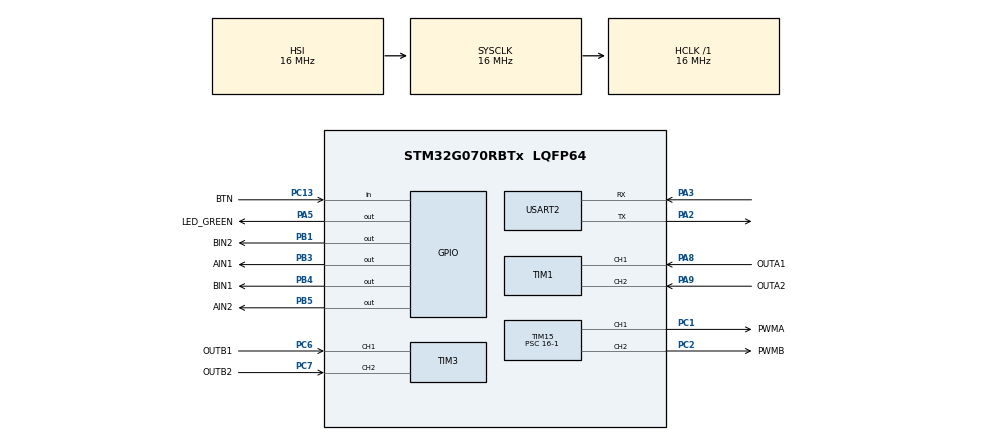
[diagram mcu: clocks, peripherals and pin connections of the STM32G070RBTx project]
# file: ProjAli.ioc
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Dma.Request0=USART2_RX
Dma.Request1=USART2_TX
Dma.USART2_RX.0.Direction=DMA_PERIPH_TO_MEMORY
Dma.USART2_RX.0.EventEnable=DISABLE
Dma.USART2_RX.0.Instance=DMA1_Channel1
Dma.USART2_RX.0.MemDataAlignment=DMA_MDATAALIGN_BYTE
Dma.USART2_RX.0.MemInc=DMA_MINC_ENABLE
Dma.USART2_RX.0.Mode=DMA_NORMAL
Dma.USART2_RX.0.PeriphDataAlignment=DMA_PDATAALIGN_BYTE
Dma.USART2_RX.0.PeriphInc=DMA_PINC_DISABLE
Dma.USART2_RX.0.Polarity=HAL_DMAMUX_REQ_GEN_RISING
Dma.USART2_RX.0.Priority=DMA_PRIORITY_VERY_HIGH
Dma.USART2_RX.0.RequestNumber=1
Dma.USART2_RX.0.SignalID=NONE
Dma.USART2_RX.0.SyncEnable=DISABLE
Dma.USART2_RX.0.SyncPolarity=HAL_DMAMUX_SYNC_NO_EVENT
Dma.USART2_RX.0.SyncRequestNumber=1
Dma.USART2_RX.0.SyncSignalID=NONE
Dma.USART2_TX.1.Direction=DMA_MEMORY_TO_PERIPH
Dma.USART2_TX.1.EventEnable=DISABLE
Dma.USART2_TX.1.Instance=DMA1_Channel2
Dma.USART2_TX.1.MemDataAlignment=DMA_MDATAALIGN_BYTE
Dma.USART2_TX.1.MemInc=DMA_MINC_ENABLE
Dma.USART2_TX.1.Mode=DMA_NORMAL
Dma.USART2_TX.1.PeriphDataAlignment=DMA_PDATAALIGN_BYTE
Dma.USART2_TX.1.PeriphInc=DMA_PINC_DISABLE
Dma.USART2_TX.1.Polarity=HAL_DMAMUX_REQ_GEN_RISING
Dma.USART2_TX.1.Priority=DMA_PRIORITY_VERY_HIGH
Dma.USART2_TX.1.RequestNumber=1
Dma.USART2_TX.1.SignalID=NONE
Dma.USART2_TX.1.SyncEnable=DISABLE
Dma.USART2_TX.1.SyncPolarity=HAL_DMAMUX_SYNC_NO_EVENT
Dma.USART2_TX.1.SyncRequestNumber=1
Dma.USART2_TX.1.SyncSignalID=NONE
Mcu.Family=STM32G0
Mcu.Name=STM32G070RBTx
Mcu.Package=LQFP64
NVIC.DMA1_Channel1_IRQn=true\:0\:0\:false\:true\:true\:1\:false\:true\:true
NVIC.DMA1_Channel2_3_IRQn=true\:0\:0\:false\:true\:true\:2\:false\:true\:true
NVIC.TIM6_IRQn=true\:3\:0\:false\:false\:true\:false\:true\:true
NVIC.TimeBase=TIM6_IRQn
NVIC.TimeBaseIP=TIM6
NVIC.USART2_IRQn=true\:0\:0\:false\:true\:true\:3\:true\:true\:true
PA13.Mode=Serial_Wire
PA13.Signal=SYS_SWDIO
PA14-BOOT0.Mode=Serial_Wire
PA14-BOOT0.Signal=SYS_SWCLK
PA2.Mode=Asynchronous
PA2.Signal=USART2_TX
PA3.Mode=Asynchronous
PA3.Signal=USART2_RX
PA5.GPIO_Label=LED_GREEN
PA5.GPIO_Speed=GPIO_SPEED_FREQ_HIGH
PA5.Signal=GPIO_Output
PA8.GPIO_Label=OUTA1
PA8.GPIO_PuPd=GPIO_PULLDOWN
PA8.GPIO_Speed=GPIO_SPEED_FREQ_VERY_HIGH
PA8.Signal=S_TIM1_CH1
PA9.GPIO_Label=OUTA2
PA9.GPIO_PuPd=GPIO_PULLDOWN
PA9.GPIO_Speed=GPIO_SPEED_FREQ_VERY_HIGH
PA9.Signal=S_TIM1_CH2
PB1.GPIO_Label=BIN2
PB1.Signal=GPIO_Output
PB3.GPIO_Label=AIN1
PB3.Signal=GPIO_Output
PB4.GPIO_Label=BIN1
PB4.Signal=GPIO_Output
PB5.GPIO_Label=AIN2
PB5.Signal=GPIO_Output
PC1.GPIO_Label=PWMA
PC1.Signal=S_TIM15_CH1
PC13.GPIO_Label=BTN
PC13.Signal=GPIO_Input
PC2.GPIO_Label=PWMB
PC2.Signal=S_TIM15_CH2
PC6.GPIO_Label=OUTB1
PC6.GPIO_PuPd=GPIO_PULLDOWN
PC6.GPIO_Speed=GPIO_SPEED_FREQ_VERY_HIGH
PC6.Signal=S_TIM3_CH1
PC7.GPIO_Label=OUTB2
PC7.GPIO_PuPd=GPIO_PULLDOWN
PC7.GPIO_Speed=GPIO_SPEED_FREQ_VERY_HIGH
PC7.Signal=S_TIM3_CH2
PF0-OSC_IN\ (PF0).GPIO_Label=MCO
PF0-OSC_IN\ (PF0).Signal=RCC_OSC_IN
ProjectManager.HeapSize=0x200
ProjectManager.StackSize=0x400
ProjectManager.TargetToolchain=Makefile
RCC.ADCFreq_Value=16000000
RCC.AHBFreq_Value=16000000
RCC.CortexFreq_Value=16000000
RCC.EXTERNAL_CLOCK_VALUE=12288000
RCC.HCLKFreq_Value=16000000
RCC.HSE_VALUE=8000000
RCC.HSI_VALUE=16000000
RCC.LSE_VALUE=32768
RCC.SYSCLKFreq_VALUE=16000000
RCC.VCOOutputFreq_Value=128000000
SH.S_TIM15_CH1.0=TIM15_CH1,PWM Generation1 CH1
SH.S_TIM15_CH2.0=TIM15_CH2,PWM Generation2 CH2
SH.S_TIM1_CH1.0=TIM1_CH1,Encoder_Interface
SH.S_TIM1_CH2.0=TIM1_CH2,Encoder_Interface
SH.S_TIM3_CH1.0=TIM3_CH1,Encoder_Interface
SH.S_TIM3_CH2.0=TIM3_CH2,Encoder_Interface
TIM1.EncoderMode=TIM_ENCODERMODE_TI12
TIM1.IC1Filter=4
TIM1.IC2Filter=4
TIM15.Channel-PWM\ Generation1\ CH1=TIM_CHANNEL_1
TIM15.Channel-PWM\ Generation2\ CH2=TIM_CHANNEL_2
TIM15.Prescaler=16-1
TIM3.EncoderMode=TIM_ENCODERMODE_TI12
TIM3.IC1Filter=4
USART2.VirtualMode-Asynchronous=VM_ASYNC
VP_SYS_VS_tim6.Mode=TIM6
VP_TIM15_VS_ClockSourceINT.Mode=Internal
board=NUCLEO-G070RB

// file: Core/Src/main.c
/* USER CODE BEGIN Header */
/**
 ******************************************************************************
 * @file           : main.c
 * @brief          : Main program body
 ******************************************************************************
 * @attention
 *
 * Copyright (c) 2026 STMicroelectronics.
 * All rights reserved.
 *
 * This software is licensed under terms that can be found in the LICENSE file
 * in the root directory of this software component.
 * If no LICENSE file comes with this software, it is provided AS-IS.
 *
 ******************************************************************************
 */
/* USER CODE END Header */
#include "main.h"
#include "crc.h"
#include "dma.h"
#include "tim.h"
#include "usart.h"
#include "gpio.h"

/* USER CODE BEGIN Includes */
#include <delay.h>
#include <navigation.h>
#include <odometry.h>
#include <test.h>
#include <motor.h>
#include <navigation.h>
#include <debug_driver.h>
#include <encoder.h>
#include <pwm.h>
#include <bsp.h>
#include <zetta_protocol.h>
/* USER CODE END Includes */

/* USER CODE BEGIN PD */
volatile uint32_t odo_time = 0, curr_odo_time = 0, prev_odo_time = 0;
OdometryTypedef odo = {0};
Zetta_t hzettatx;
Zetta_t hzettarx;
#pragma pack(push, 1)
typedef struct
{
  uint8_t nav_state; // 0 , stop , 1 position , 2 angle
  float cmd;
} NavCommand_t;
#pragma pack(pop)

volatile NavCommand_t nav_data = {0};
volatile uint8_t zetta_rx_byte = 0;
void HAL_UART_TxCpltCallback(UART_HandleTypeDef *huart)
{
  // HAL_GPIO_WritePin(LED_GREEN_GPIO_Port, LED_GREEN_Pin, 1);
  zetta_transmit_cplt_clb(&hzettatx);
}
void uart_send(void *data, uint8_t size)
{
  HAL_UART_Transmit_DMA(&huart2, data, size);
}

uint32_t stm32_crc(uint32_t *data, uint32_t size)
{
  __HAL_CRC_DR_RESET(&hcrc);
  uint32_t crc = 0;
  crc = HAL_CRC_Calculate(&hcrc, (uint32_t *)data, size);
  return crc;
}

ZettaInterface_t iface = {
    .send = uart_send,
    .computeCRC = stm32_crc,
};

void HAL_UART_RxCpltCallback(UART_HandleTypeDef *huart)
{
  if (zetta_ParseByte(&hzettarx, zetta_rx_byte) == ZETTA_OK)
  {
    TurOn_led();
    Zetta_GetPayload(&hzettarx, (void *)&nav_data);
    // process buffer
  }

  zetta_recieve_cplt_clb(&hzettarx);
  HAL_UART_Receive_DMA(&huart2, (uint8_t *)&zetta_rx_byte, 1);
}

volatile uint8_t btn_state = 0;

/* USER CODE END PD */

void SystemClock_Config(void);
static void MX_NVIC_Init(void);

int main(void)
{

  /* MCU Configuration--------------------------------------------------------*/

  /* Reset of all peripherals, Initializes the Flash interface and the Systick. */
  HAL_Init();

  /* Configure the system clock */
  SystemClock_Config();

  /* Initialize all configured peripherals */
  MX_GPIO_Init();
  MX_DMA_Init();
  MX_TIM1_Init();
  MX_USART2_UART_Init();
  MX_TIM3_Init();
  MX_TIM15_Init();
  MX_CRC_Init();

  /* Initialize interrupts */
  MX_NVIC_Init();
  /* USER CODE BEGIN 2 */
  // set urt2 txtfifo threshold to full
  if (HAL_UARTEx_SetTxFifoThreshold(&huart2, UART_TXFIFO_THRESHOLD_8_8) != HAL_OK)
  {
    Error_Handler();
  }

  init_motors();
  timer1_LeftEncoder_start();
  timer3_RightEncoder_start();

  /* USER CODE END 2 */

  /* Infinite loop */
  /* USER CODE BEGIN WHILE */
  // OdoInit(&odo);
  zetta_init(&hzettarx, iface);
  zetta_init(&hzettatx, iface);
  OdoInit(&odo);
  nav_data.nav_state = 3;
  nav_data.cmd = 0.0f;
  HAL_UART_Receive_DMA(&huart2, (uint8_t *)&zetta_rx_byte, 1);

  while (1)
  {
    // switch (nav_data.nav_state)
    // {
    // case 0: // RESET
    //   /* code */
    //   command_motors(0, 0);
    //   delay_ms(20);
    //   OdoInit(&odo);
    //   OdoUpdate(&odo, 0);
    //   zetta_send(&hzettatx, MSG_PUBLISH, &odo, sizeof(OdometryTypedef));
    //   nav_data.nav_state = 3;
    //   break;
    // case 1:
    //   /* code */
    //   position_control(nav_data.cmd, &odo);
    //   nav_data.nav_state = 3;
    //   break;
    // case 2:
    //   /* code */
    //   angle_control(DEG2RAD(nav_data.cmd), &odo);
    //   nav_data.nav_state = 3;
    //   break;
    // default:
    //   command_motors(0, 0);
    //   delay_ms(20);
    //   OdoUpdate(&odo, 0);
    //   zetta_send(&hzettatx, MSG_PUBLISH, &odo, sizeof(OdometryTypedef));
    //   break;
    // }
    // test_uart();
    // test_encoder();
    btn_state = read_btn_status();
    if (btn_state)
    {
      // position_control(50, &odo);
      // delay_ms(1000);
      angle_control(ABSOLUTE_ANGLE ,  DEG2RAD(-90), &odo);
      delay_ms(1000);
      angle_control(ABSOLUTE_ANGLE , DEG2RAD(60), &odo);
      delay_ms(1000);
      // angle_control(DEG2RAD(180), &odo);
      // delay_ms(1000);
      // angle_control(DEG2RAD(270), &odo);
      // delay_ms(1000);
      // angle_control(DEG2RAD(360), &odo);

      // position_control(50, &odo);
      // delay_ms(1000);
      // angle_control(DEG2RAD(90), &odo);
      // delay_ms(1000);
      // position_control(50, &odo);
      // delay_ms(1000);
      // angle_control(DEG2RAD(90), &odo);
      // delay_ms(1000);
      // position_control(50, &odo);
      // delay_ms(1000);
      // angle_control(DEG2RAD(90), &odo);

      btn_state = 0;
    }
    // OdoUpdate(&odo, 0);
    zetta_send(&hzettatx, MSG_PUBLISH, &odo, sizeof(OdometryTypedef));
    delay_ms(20);
    /* USER CODE END WHILE */

  }
}

void SystemClock_Config(void)
{
  RCC_OscInitTypeDef RCC_OscInitStruct = {0};
  RCC_ClkInitTypeDef RCC_ClkInitStruct = {0};

  /** Configure the main internal regulator output voltage
   */
  HAL_PWREx_ControlVoltageScaling(PWR_REGULATOR_VOLTAGE_SCALE1);

  /** Initializes the RCC Oscillators according to the specified parameters
   * in the RCC_OscInitTypeDef structure.
   */
  RCC_OscInitStruct.OscillatorType = RCC_OSCILLATORTYPE_HSI;
  RCC_OscInitStruct.HSIState = RCC_HSI_ON;
  RCC_OscInitStruct.HSIDiv = RCC_HSI_DIV1;
  RCC_OscInitStruct.HSICalibrationValue = RCC_HSICALIBRATION_DEFAULT;
  RCC_OscInitStruct.PLL.PLLState = RCC_PLL_NONE;
  if (HAL_RCC_OscConfig(&RCC_OscInitStruct) != HAL_OK)
  {
    Error_Handler();
  }

  /** Initializes the CPU, AHB and APB buses clocks
   */
  RCC_ClkInitStruct.ClockType = RCC_CLOCKTYPE_HCLK | RCC_CLOCKTYPE_SYSCLK | RCC_CLOCKTYPE_PCLK1;
  RCC_ClkInitStruct.SYSCLKSource = RCC_SYSCLKSOURCE_HSI;
  RCC_ClkInitStruct.AHBCLKDivider = RCC_SYSCLK_DIV1;
  RCC_ClkInitStruct.APB1CLKDivider = RCC_HCLK_DIV1;

  if (HAL_RCC_ClockConfig(&RCC_ClkInitStruct, FLASH_LATENCY_0) != HAL_OK)
  {
    Error_Handler();
  }
}

/**
 * @brief NVIC Configuration.
 * @retval None
 */
static void MX_NVIC_Init(void)
{
  /* DMA1_Channel1_IRQn interrupt configuration */
  HAL_NVIC_SetPriority(DMA1_Channel1_IRQn, 0, 0);
  HAL_NVIC_EnableIRQ(DMA1_Channel1_IRQn);
  /* DMA1_Channel2_3_IRQn interrupt configuration */
  HAL_NVIC_SetPriority(DMA1_Channel2_3_IRQn, 0, 0);
  HAL_NVIC_EnableIRQ(DMA1_Channel2_3_IRQn);
}

void HAL_TIM_PeriodElapsedCallback(TIM_HandleTypeDef *htim)
{
  if (htim->Instance == TIM6)
  {
    HAL_IncTick();
  }
}

void Error_Handler(void)
{
  __disable_irq();
  while (1)
  {
  }
}
